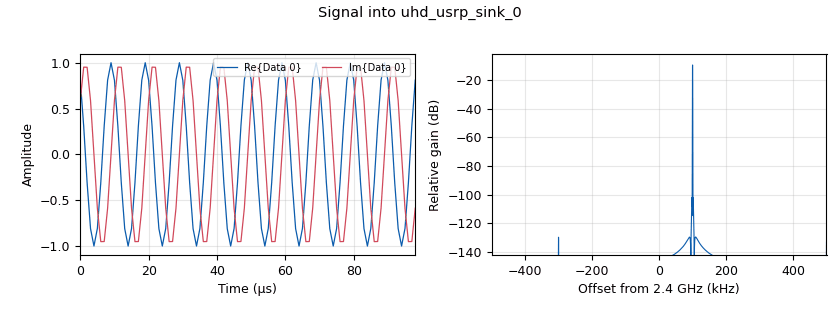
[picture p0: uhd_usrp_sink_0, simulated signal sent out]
options:
  parameters:
    author: Niv Karasenty
    description: Tuning distances of antenas for usrp
    generate_options: qt_gui
    id: phase_tune
    output_language: python
    title: phase tuning
  states: {}

blocks:
- name: TX_gain
  id: variable_qtgui_range
  parameters:
    start: '0'
    step: '1'
    stop: '30'
    value: '0'
  states: {}
- name: center_freq
  id: variable
  parameters:
    value: 2.4e9
  states: {}
- name: samp_rate
  id: variable
  parameters:
    value: 1e6
  states: {}
- name: tone_freq
  id: variable
  parameters:
    value: 100e3
  states: {}
- name: analog_sig_source_x_0
  id: analog_sig_source_x
  parameters:
    amp: '1'
    freq: tone_freq
    offset: '0'
    phase: '0'
    samp_rate: samp_rate
    type: complex
    waveform: analog.GR_COS_WAVE
  states: {}
- name: blocks_multiply_const_vxx_0
  id: blocks_multiply_const_vxx
  parameters:
    const: '1'
    type: complex
  states: {}
- name: uhd_usrp_sink_0
  id: uhd_usrp_sink
  parameters:
    ant0: '"TX/RX"'
    center_freq0: center_freq
    gain0: '30'
    samp_rate: samp_rate
    sync: none
    type: fc32
  states: {}

connections:
- [analog_sig_source_x_0, '0', blocks_multiply_const_vxx_0, '0']
- [blocks_multiply_const_vxx_0, '0', uhd_usrp_sink_0, '0']

metadata:
  file_format: 1
  grc_version: 3.10.12.0
